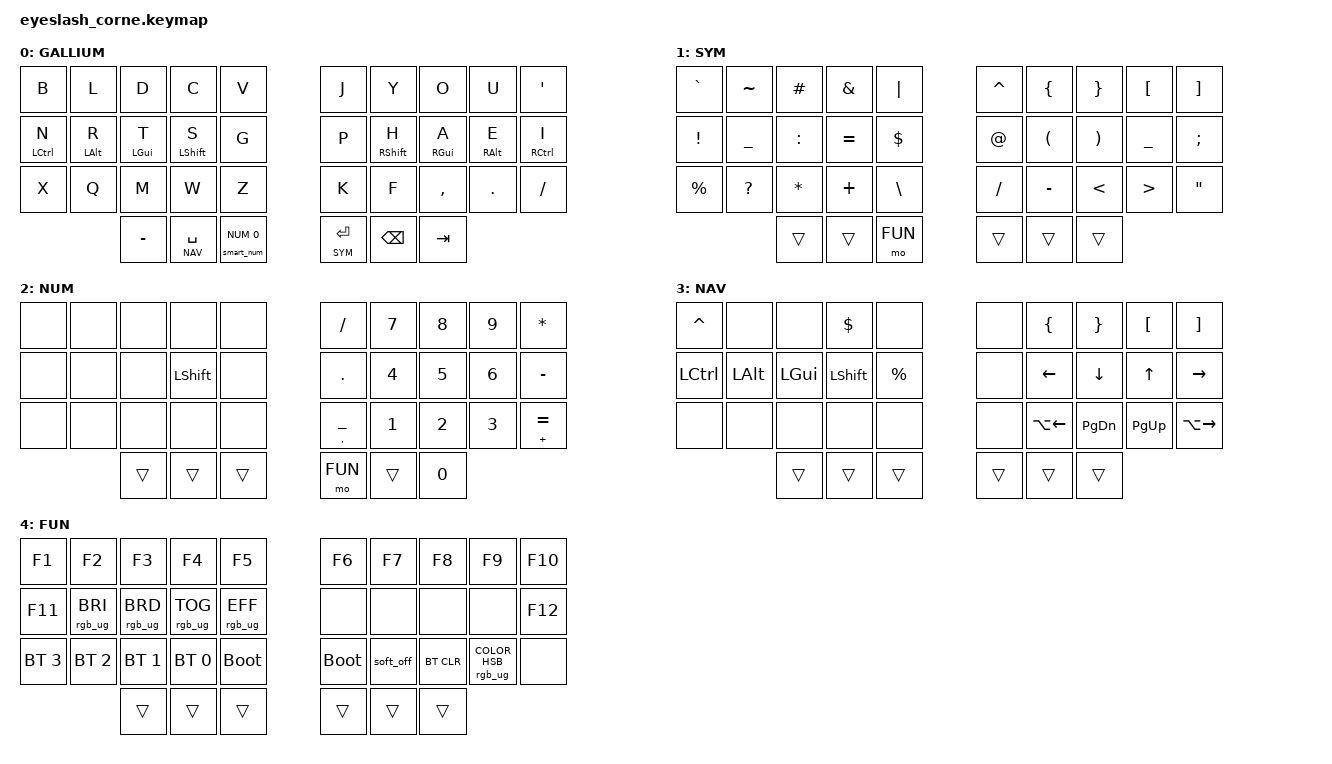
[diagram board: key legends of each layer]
#define ZMK_POINTING_DEFAULT_MOVE_VAL 1200  // 600
#define ZMK_POINTING_DEFAULT_SCRL_VAL 25   // 10

#include <input/processors.dtsi>
#include <zephyr/dt-bindings/input/input-event-codes.h>
#include <behaviors.dtsi>

// urobs helpers
#include <behaviors/num_word.dtsi>  // requires zmk-auto-layer module
#include <zmk-helpers/helper.h> // requires zmk-helpers module
#include "eyelash42.h"   // before dt-bindings/keys.h

#include <dt-bindings/zmk/bt.h>
#include <dt-bindings/zmk/ext_power.h>
#include <dt-bindings/zmk/keys.h>
#include <dt-bindings/zmk/pointing.h>
#include <dt-bindings/zmk/outputs.h>
#include <dt-bindings/zmk/rgb.h>

#define DEF 0
#define SYM 1
#define NUM 2
#define NAV 3
#define FUN 4

#define XXX &none
#define ___ &trans

#define QUICK_TAP_MS 175

&lt {
    flavor = "balanced";
    tapping-term-ms = <200>;
    quick-tap-ms = <QUICK_TAP_MS>;
};

&sl { // Allow sticky mods to chord across sticky layers.
  ignore-modifiers;
};

&mmv_input_listener { input-processors = <&zip_xy_scaler 2 1>; };

&msc_input_listener { input-processors = <&zip_scroll_scaler 2 1>; };

&msc {
    acceleration-exponent = <1>;      // 0
    time-to-max-speed-ms = <100>;       // 300
    delay-ms = <0>;                   // 0
};

&mmv {
    time-to-max-speed-ms = <500>;
    acceleration-exponent = <1>;
    trigger-period-ms = <16>;
};

&soft_off {
    hold-time-ms = <3000>;   // only turn off if the key is held for 3 s or longer
};

#define MAKE_HRM(NAME, HOLD, TAP, TRIGGER_POS)                                 \
  ZMK_HOLD_TAP(NAME, bindings = <HOLD>, <TAP>; flavor = "balanced";            \
               tapping-term-ms = <280>; quick-tap-ms = <QUICK_TAP_MS>;         \
               require-prior-idle-ms = <150>; hold-trigger-on-release;         \
               hold-trigger-key-positions = <TRIGGER_POS>;)

MAKE_HRM(hml, &kp, &kp, KEYS_R THUMBS) // Left-hand HRMs.
MAKE_HRM(hmr, &kp, &kp, KEYS_L THUMBS) // Right-hand HRMs.

// Hack: Make HRM combos tap-only
#define ZMK_COMBO_8(NAME, TAP, POS, LAYERS, COMBO_MS, IDLE_MS, HOLD, SIDE)     \
  MAKE_HRM(hm_combo_##NAME, &kp, TAP, SIDE THUMBS)                             \
  ZMK_COMBO_6(NAME, &hm_combo_##NAME HOLD 0, POS, LAYERS, COMBO_MS, IDLE_MS)

#include "combos.dtsi"

ZMK_HOLD_TAP(ht, bindings = <&kp>, <&kp>; flavor = "balanced";                \
             tapping-term-ms = <200>; quick-tap-ms = <QUICK_TAP_MS>;          \
             require-prior-idle-ms = <150>;)

// smart_num = CAPS_WORD on num
// Tap: num-word | double-tap: sticky num-layer | Hold: num-layer.
#define SMART_NUM &smart_num NUM 0
ZMK_HOLD_TAP(smart_num, bindings = <&mo>, <&num_dance>; flavor = "balanced";
             tapping-term-ms = <200>; quick-tap-ms = <QUICK_TAP_MS>;)
ZMK_TAP_DANCE(num_dance, bindings = <&num_word NUM>, <&sl NUM>;
              tapping-term-ms = <200>;)

/ {
    keymap {
        compatible = "zmk,keymap";

        default_layer {
            display-name = "GALLIUM";
            bindings = <
        &kp B         &kp L        &kp D        &kp C          &kp V             &kp J          &kp Y          &kp O        &kp U        &kp SQT
        &hml LCTRL N  &hml LALT R  &hml LGUI T  &hml LSHIFT S  &kp G             &kp P          &hmr RSHIFT H  &hmr RGUI A  &hmr RALT E  &hmr RCTRL I
        &kp X         &kp Q        &kp M        &kp W          &kp Z             &kp K          &kp F          &kp COMMA    &kp DOT      &kp FSLH
                               &kp MINUS    &lt NAV SPACE  SMART_NUM             &lt SYM ENTER  &kp BSPC       &kp TAB
            >;
        };

        sym_layer {
            display-name = "SYM";
            bindings = <
    &kp GRAVE  &kp TILDE  &kp HASH   &kp AMPS   &kp PIPE          &kp CARET  &kp LBRC   &kp RBRC   &kp LBKT   &kp RBKT
    &kp EXCL   &kp UNDER  &kp COLON  &kp EQUAL  &kp DLLR          &kp AT     &kp LPAR   &kp RPAR   &kp UNDER  &kp SEMI
    &kp PRCNT  &kp QMARK  &kp ASTRK  &kp PLUS   &kp BSLH          &kp FSLH   &kp MINUS  &kp LT     &kp GT     &kp DQT
                          ___        ___        &mo FUN           ___        ___        ___
            >;
        };

        num_layer {
            display-name = "NUM";
            bindings = <
    XXX        XXX        XXX        XXX        XXX               &kp FSLH         &kp N7   &kp N8   &kp N9   &kp ASTRK
    XXX        XXX        XXX        &kp LSHIFT XXX               &kp DOT          &kp N4   &kp N5   &kp N6   &kp MINUS
    XXX        XXX        XXX        XXX        XXX               &ht COMMA UNDER  &kp N1   &kp N2   &kp N3   &ht PLUS EQUAL
                          ___        ___        ___               &mo FUN      ___      &kp 0
            >;
        };

        nav_layer {
            display-name = "NAV";
            bindings = <
    &kp CARET  XXX        XXX        &kp DOLLAR XXX               XXX          &kp LBRC          &kp RBRC     &kp LBKT     &kp RBKT
    &kp LCTRL  &kp LALT   &kp LGUI   &kp LSHIFT &kp PRCNT         XXX          &kp LEFT          &kp DOWN     &kp UP       &kp RIGHT
    XXX        XXX        XXX        XXX        XXX               XXX          &kp LA(LEFT)      &kp PG_DN    &kp PG_UP    &kp LA(RIGHT)
                          ___        ___        ___               ___          ___               ___
            >;
        };

        fun_layer {
            display-name = "FUN";
            bindings = <
    &kp F1        &kp F2          &kp F3          &kp F4          &kp F5            &kp F6        &kp F7        &kp F8        &kp F9        &kp F10
    &kp F11       &rgb_ug RGB_BRI &rgb_ug RGB_BRD &rgb_ug RGB_TOG &rgb_ug RGB_EFF   XXX           XXX           XXX           XXX           &kp F12
    &bt BT_SEL 3  &bt BT_SEL 2    &bt BT_SEL 1    &bt BT_SEL 0    &bootloader       &bootloader   &soft_off     &bt BT_CLR    &rgb_ug RGB_COLOR_HSB(190,100,10) XXX
                                  ___             ___             ___               ___           ___           ___
            >;
        };
    };
};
